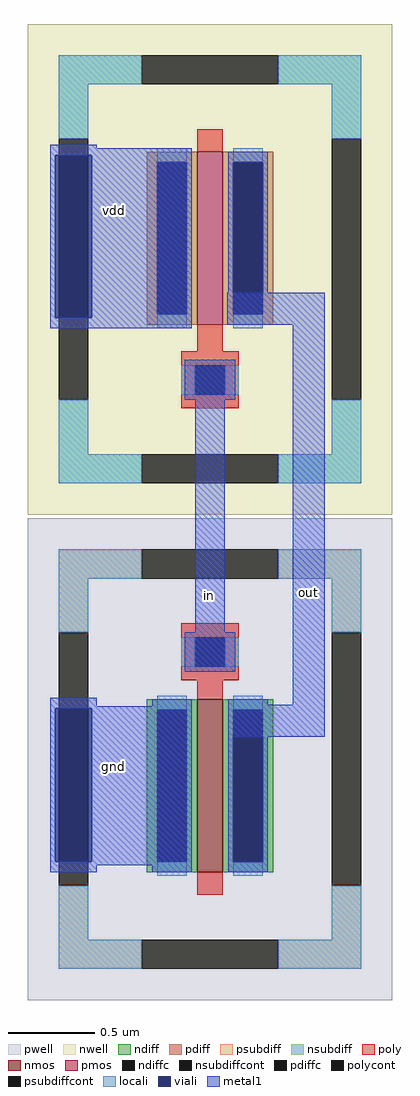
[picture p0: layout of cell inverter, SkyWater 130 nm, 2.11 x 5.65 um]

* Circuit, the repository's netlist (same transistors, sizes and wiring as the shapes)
** sch_path: /home/raphael03/MSIB/Inverter/inverter.sch
.subckt inverter in out vdd gnd
*.PININFO in:I out:O vdd:I gnd:I
XM1 out in vdd vdd sky130_fd_pr__pfet_01v8 L=0.15 W=1 nf=1 m=1
XM2 out in gnd gnd sky130_fd_pr__nfet_01v8 L=0.15 W=1 nf=1 m=1
.ends
.end

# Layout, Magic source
magic
tech sky130A
magscale 1 2
<< viali >>
rect -552 1070 -510 1258
rect -552 440 -510 618
<< metal1 >>
rect -558 1266 -504 1270
rect -558 1258 -394 1266
rect -558 1070 -552 1258
rect -510 1070 -394 1258
rect -558 1058 -394 1070
rect -353 1062 -240 1099
rect -390 666 -356 1016
rect -558 620 -504 630
rect -277 622 -240 1062
rect -558 618 -398 620
rect -558 440 -552 618
rect -510 440 -398 618
rect -347 585 -240 622
rect -558 436 -398 440
rect -558 428 -504 436
use sky130_fd_pr__pfet_01v8_LGS3BL  XM1
transform 1 0 -373 0 1 1126
box -211 -284 211 284
use sky130_fd_pr__nfet_01v8_64Z3AY  XM2
transform 1 0 -373 0 1 559
box -211 -279 211 279
<< labels >>
flabel metal1 -488 546 -482 554 0 FreeSans 160 0 0 0 gnd
port 2 nsew
flabel metal1 -486 1190 -480 1198 0 FreeSans 160 0 0 0 vdd
port 3 nsew
flabel metal1 -262 748 -256 756 0 FreeSans 160 0 0 0 out
port 4 nsew
flabel metal1 -377 744 -371 752 0 FreeSans 160 0 0 0 in
port 5 nsew
<< end >>

# cell sky130_fd_pr__pfet_01v8_LGS3BL: kit device sky130_fd_pr__pfet_01v8, w 1.0 l 0.15 m 1 nf 1 diffcov 100 polycov 100 guard 1 glc 1 grc 1 gtc 1 gbc 1 tbcov 100 rlcov 100 topc 0 botc 1 poverlap 0 doverlap 1 lmin 0.15 wmin 0.42 compatible {sky130_fd_pr__pfet_01v8 sky130_fd_pr__pfet_01v8_lvt sky130_fd_pr__pfet_01v8_hvt sky130_fd_pr__pfet_g5v0d10v5} full_metal 1 viasrc 100 viadrn 100 viagate 100 viagb 0 viagr 0 viagl 0 viagt 0

# cell sky130_fd_pr__nfet_01v8_64Z3AY: kit device sky130_fd_pr__nfet_01v8, w 1.0 l 0.15 m 1 nf 1 diffcov 100 polycov 100 guard 1 glc 1 grc 1 gtc 1 gbc 1 tbcov 100 rlcov 100 topc 1 botc 0 poverlap 0 doverlap 1 lmin 0.15 wmin 0.42 compatible {sky130_fd_pr__nfet_01v8 sky130_fd_pr__nfet_01v8_lvt sky130_fd_bs_flash__special_sonosfet_star sky130_fd_pr__nfet_g5v0d10v5 sky130_fd_pr__nfet_05v0_nvt sky130_fd_pr__nfet_03v3_nvt} full_metal 1 viasrc 100 viadrn 100 viagate 100 viagb 0 viagr 0 viagl 0 viagt 0
